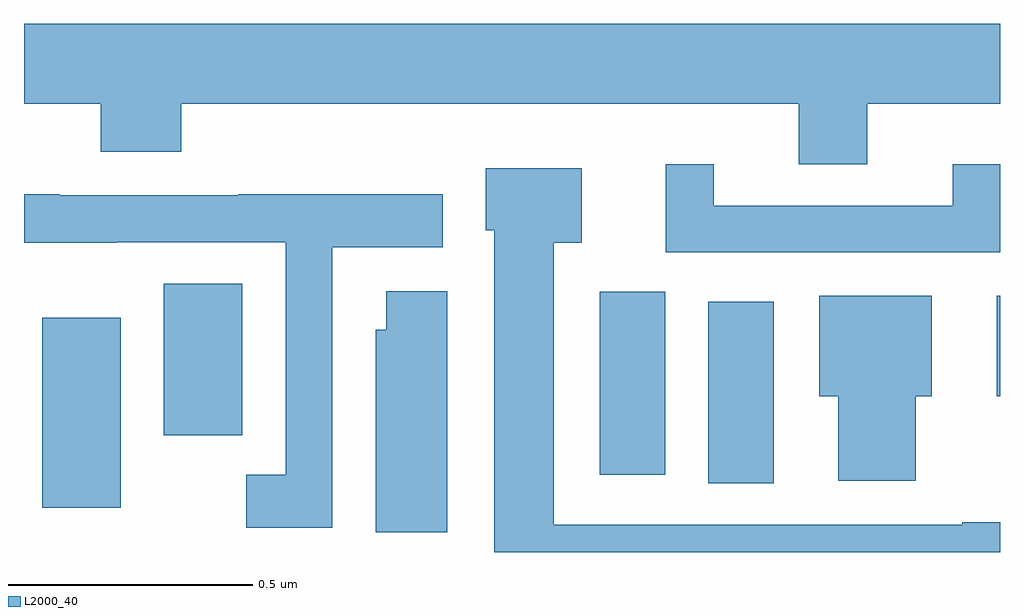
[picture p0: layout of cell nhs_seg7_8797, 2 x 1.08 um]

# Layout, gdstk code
import gdstk
lib = gdstk.Library(unit=1e-6, precision=1e-09)
def R(c, l, rs):  # rectangles x0, y0, x1, y1
    for r in rs: c.add(gdstk.rectangle(r[:2], r[2:], *l))
def P(c, l, *ps):  # polygons
    for p in ps: c.add(gdstk.Polygon(p, *l))
L2000_40 = (2000, 40)

nhs_seg7_8797 = lib.new_cell('nhs_seg7_8797')
R(nhs_seg7_8797, L2000_40, [(229.037,1029.092,229.198,1029.481), (230.402,1029.142,230.536,1029.514), (230.18,1029.159,230.314,1029.534), (229.286,1029.24,229.447,1029.551), (230.993,1029.32,231,1029.526)])
P(nhs_seg7_8797, L2000_40, [(230.728,1029.92),(231,1029.92),(231,1030.084),(229,1030.084),(229,1029.92),(229.157,1029.92),(229.157,1029.821),(229.322,1029.821),(229.322,1029.92),(230.588,1029.92),(230.588,1029.796),(230.728,1029.796)],
  [(231,1029.796),(230.903,1029.796),(230.903,1029.711),(230.413,1029.711),(230.413,1029.796),(230.315,1029.796),(230.315,1029.615),(231,1029.615)],
  [(231,1029.062),(230.923,1029.062),(230.923,1029.057),(230.086,1029.057),(230.086,1029.635),(230.143,1029.635),(230.143,1029.787),(229.946,1029.787),(229.946,1029.66),(229.964,1029.66),(229.964,1029),(231,1029)],
  [(229.632,1029.626),(229.858,1029.626),(229.858,1029.734),(229.439,1029.734),(229.439,1029.732),(229.073,1029.732),(229.073,1029.734),(229,1029.734),(229,1029.635),(229.19,1029.635),(229.19,1029.636),(229.536,1029.636),(229.536,1029.159),(229.455,1029.159),(229.455,1029.051),(229.632,1029.051)],
  [(229.867,1029.535),(229.742,1029.535),(229.742,1029.456),(229.721,1029.456),(229.721,1029.042),(229.867,1029.042)],
  [(230.827,1029.32),(230.86,1029.32),(230.86,1029.526),(230.63,1029.526),(230.63,1029.32),(230.669,1029.32),(230.669,1029.147),(230.827,1029.147)])

lib.write_gds('nhs_seg7_8797.gds')
